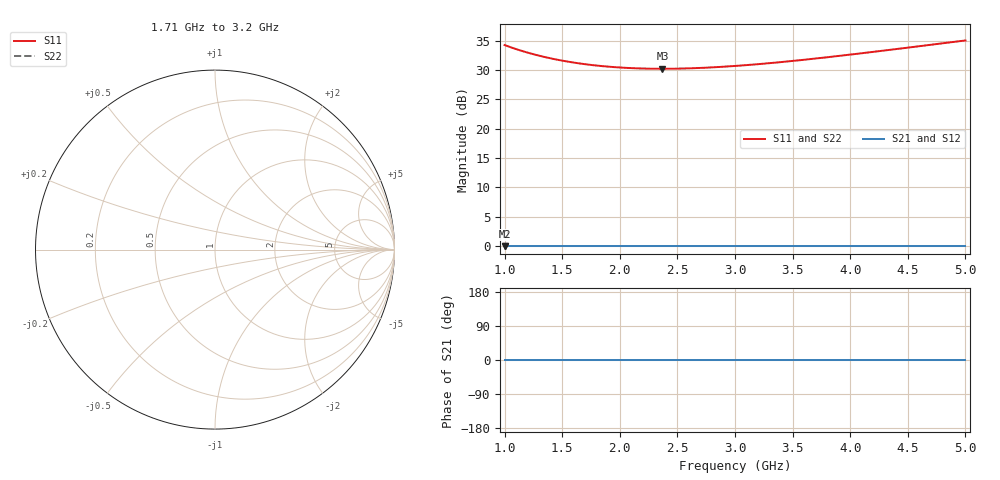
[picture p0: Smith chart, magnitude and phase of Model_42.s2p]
# GHZ S RI R 50
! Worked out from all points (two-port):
!   401 points, 1 GHz to 5 GHz, reference 50 ohm
!   highest |S21| = 0.00 dB at 1 GHz (marker M1); lowest = 0.0 dB at 1 GHz (marker M2)
!   |S21| within 3 dB of the highest: start of sweep to end of sweep
!   lowest |S11| = 30.2 dB at 2.37 GHz (marker M3)
!   |S11| at or under -10 dB: nowhere
!   |S22| runs from 30.2 to 35.0 dB; largest |S21 - S12| = 0
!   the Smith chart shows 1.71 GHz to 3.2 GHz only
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1  51.5 0  1 0  1 0  51.5 0
1.02  50.64 0  1 0  1 0  50.64 0
1.15  45.9 0  1 0  1 0  45.9 0
1.22  43.83 0  1 0  1 0  43.83 0
1.3  41.8 0  1 0  1 0  41.8 0
1.38  40.07 0  1 0  1 0  40.07 0
1.47  38.43 0  1 0  1 0  38.43 0
1.57  36.92 0  1 0  1 0  36.92 0
1.67  35.69 0  1 0  1 0  35.69 0
1.82  34.29 0  1 0  1 0  34.29 0
1.98  33.27 0  1 0  1 0  33.27 0
2.15  32.63 0  1 0  1 0  32.63 0
2.34  32.36 0  1 0  1 0  32.36 0
2.37  32.35 0  1 0  1 0  32.35 0
2.67  32.8 0  1 0  1 0  32.8 0
3  34.18 0  1 0  1 0  34.18 0
3.33  36.34 0  1 0  1 0  36.34 0
3.67  39.26 0  1 0  1 0  39.26 0
4  42.7 0  1 0  1 0  42.7 0
4.34  46.82 0  1 0  1 0  46.82 0
4.64  50.92 0  1 0  1 0  50.92 0
5  56.36 0  1 0  1 0  56.36 0
